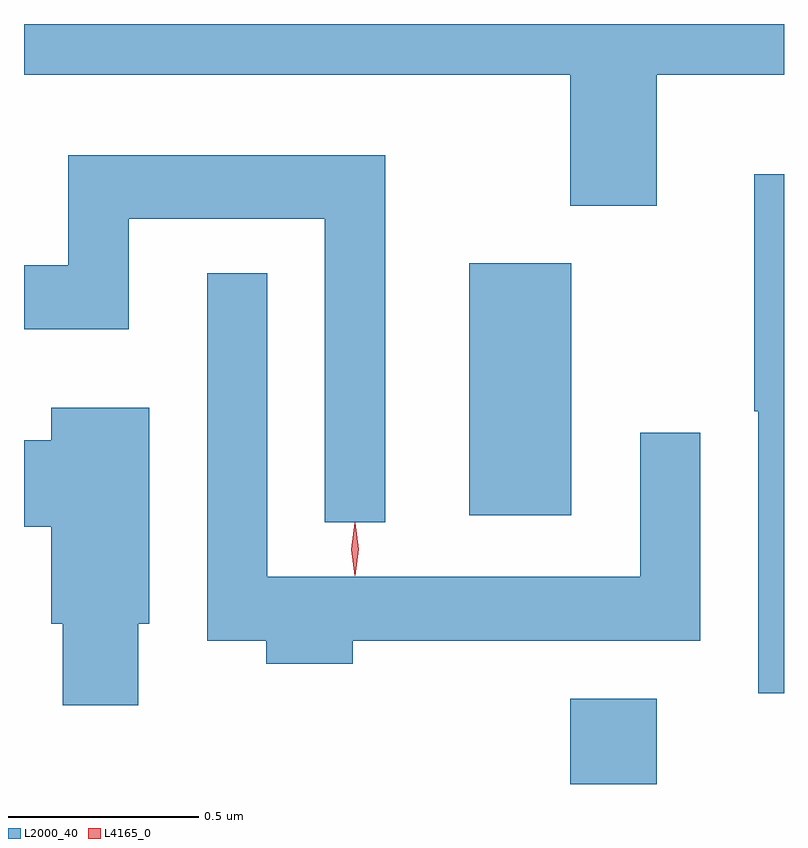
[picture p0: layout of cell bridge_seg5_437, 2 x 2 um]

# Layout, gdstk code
import gdstk
lib = gdstk.Library(unit=1e-6, precision=1e-09)
def R(c, l, rs):  # rectangles x0, y0, x1, y1
    for r in rs: c.add(gdstk.rectangle(r[:2], r[2:], *l))
def P(c, l, *ps):  # polygons
    for p in ps: c.add(gdstk.Polygon(p, *l))
L2000_40 = (2000, 40)
L4165_0 = (4165, 0)

bridge_seg5_437 = lib.new_cell('bridge_seg5_437')
R(bridge_seg5_437, L2000_40, [(530.391,1512.649,530.619,1512.874), (530.126,1513.356,530.394,1514.019)])
P(bridge_seg5_437, L2000_40, [(530.619,1514.516),(530.954,1514.516),(530.954,1514.649),(528.954,1514.649),(528.954,1514.516),(530.391,1514.516),(530.391,1514.171),(530.619,1514.171)],
  [(529.904,1514.304),(529.071,1514.304),(529.071,1514.014),(528.954,1514.014),(528.954,1513.846),(529.229,1513.846),(529.229,1514.136),(529.746,1514.136),(529.746,1513.338),(529.904,1513.338)],
  [(530.954,1514.254),(530.876,1514.254),(530.876,1513.63),(530.886,1513.63),(530.886,1512.888),(530.954,1512.888)],
  [(529.819,1513.026),(530.734,1513.026),(530.734,1513.573),(530.576,1513.573),(530.576,1513.194),(529.594,1513.194),(529.594,1513.993),(529.436,1513.993),(529.436,1513.026),(529.591,1513.026),(529.591,1512.966),(529.819,1512.966)],
  [(529.254,1513.071),(529.284,1513.071),(529.284,1513.639),(529.026,1513.639),(529.026,1513.554),(528.954,1513.554),(528.954,1513.326),(529.026,1513.326),(529.026,1513.071),(529.056,1513.071),(529.056,1512.856),(529.254,1512.856)])
P(bridge_seg5_437, L4165_0, [(529.824,1513.199),(529.824,1513.2),(529.815,1513.266),(529.824,1513.332),(529.825,1513.333),(529.825,1513.332),(529.834,1513.266),(529.825,1513.2)],
  [(529.825,1513.197),(529.825,1513.197),(529.815,1513.267),(529.825,1513.336),(529.825,1513.336),(529.826,1513.336),(529.835,1513.267),(529.826,1513.197)])

lib.write_gds('bridge_seg5_437.gds')
